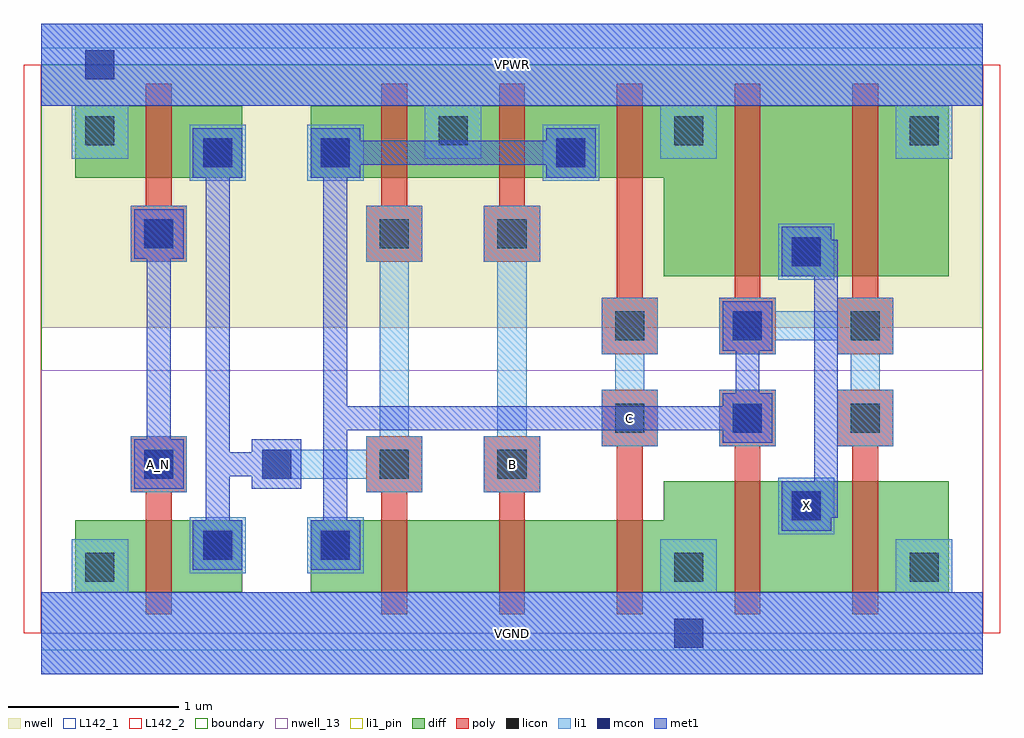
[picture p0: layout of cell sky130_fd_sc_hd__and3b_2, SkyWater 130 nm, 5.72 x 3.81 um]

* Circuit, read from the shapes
.subckt sky130_fd_sc_hd__and3b_2 A_N B C VGND VPWR X
XM1 n1 A_N VGND VSUBS sky130_fd_pr__nfet_01v8 w=0.42 l=0.15
XM2 n2 n1 n3 VSUBS sky130_fd_pr__nfet_01v8 w=0.42 l=0.15
XM3 n4 B n2 VSUBS sky130_fd_pr__nfet_01v8 w=0.42 l=0.15
XM4 VGND C n4 VSUBS sky130_fd_pr__nfet_01v8 w=0.42 l=0.15
XM5 X n3 VGND VSUBS sky130_fd_pr__nfet_01v8 w=0.65 l=0.15 m=2
XM6 n1 A_N VPWR n5 sky130_fd_pr__pfet_01v8 w=0.42 l=0.15
XM7 VPWR n1 n3 n5 sky130_fd_pr__pfet_01v8 w=0.42 l=0.15
XM8 n3 B VPWR n5 sky130_fd_pr__pfet_01v8 w=0.42 l=0.15
XM9 VPWR C n3 n5 sky130_fd_pr__pfet_01v8 w=0.42 l=0.15
XM10 X n3 VPWR n5 sky130_fd_pr__pfet_01v8 w=1 l=0.15 m=2
.ends

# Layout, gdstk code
import gdstk
lib = gdstk.Library(unit=1e-6, precision=1e-09)
def R(c, l, rs):  # rectangles x0, y0, x1, y1
    for r in rs: c.add(gdstk.rectangle(r[:2], r[2:], *l))
def A(c, l, x, y, w, h, nx, ny, dx, dy):  # array of equal rectangles
    R(c, l, [(x+i*dx, y+j*dy, x+i*dx+w, y+j*dy+h) for i in range(nx) for j in range(ny)])
def P(c, l, *ps):  # polygons
    for p in ps: c.add(gdstk.Polygon(p, *l))
nwell_13 = (64, 13)
nwell = (64, 20)
diff = (65, 20)
poly = (66, 20)
licon = (66, 44)
li1_pin = (67, 16)
li1 = (67, 20)
mcon = (67, 44)
met1 = (68, 20)
L142_1 = (142, 1)
L142_2 = (142, 2)
boundary = (235, 4)

sky130_fd_sc_hd__and3b_2 = lib.new_cell('sky130_fd_sc_hd__and3b_2')
R(sky130_fd_sc_hd__and3b_2, nwell_13, [(0,0,5.52,1.54)])
R(sky130_fd_sc_hd__and3b_2, nwell, [(0,1.79,5.52,3.33)])
R(sky130_fd_sc_hd__and3b_2, diff, [(0.2,0.24,1.18,0.66), (0.2,0.24,0.615,0.66), (0.615,0.24,1.18,0.66), (1.58,0.24,1.995,0.66), (1.995,0.24,2.685,0.66), (2.685,0.24,3.375,0.66), (4.065,0.24,4.755,0.89), (4.755,0.24,5.32,0.89), (4.065,2.09,4.755,3.09), (4.755,2.09,5.32,3.09), (0.2,2.67,1.18,3.09), (0.2,2.67,0.615,3.09), (0.615,2.67,1.18,3.09), (1.58,2.67,1.995,3.09), (1.995,2.67,2.685,3.09), (2.685,2.67,3.375,3.09)])
P(sky130_fd_sc_hd__and3b_2, diff, [(1.58,0.24),(1.58,0.66),(3.65,0.66),(3.65,0.89),(5.32,0.89),(5.32,0.24)],
  [(3.375,0.24),(3.375,0.66),(3.65,0.66),(3.65,0.89),(4.065,0.89),(4.065,0.24)],
  [(3.65,2.09),(3.65,2.67),(1.58,2.67),(1.58,3.09),(5.32,3.09),(5.32,2.09)],
  [(3.65,2.09),(3.65,2.67),(3.375,2.67),(3.375,3.09),(4.065,3.09),(4.065,2.09)])
P(sky130_fd_sc_hd__and3b_2, poly, [(2.685,0.11),(2.685,0.825),(2.595,0.825),(2.595,1.155),(2.925,1.155),(2.925,0.825),(2.835,0.825),(2.835,0.11)],
  [(2.595,2.175),(2.595,2.505),(2.685,2.505),(2.685,3.22),(2.835,3.22),(2.835,2.505),(2.925,2.505),(2.925,2.175)],
  [(4.065,0.11),(4.065,1.095),(3.975,1.095),(3.975,1.425),(4.305,1.425),(4.305,1.095),(4.215,1.095),(4.215,0.11)],
  [(4.755,0.11),(4.755,1.095),(4.665,1.095),(4.665,1.425),(4.995,1.425),(4.995,1.095),(4.905,1.095),(4.905,0.11)],
  [(3.975,1.635),(3.975,1.965),(4.065,1.965),(4.065,3.22),(4.215,3.22),(4.215,1.965),(4.305,1.965),(4.305,1.635)],
  [(4.665,1.635),(4.665,1.965),(4.755,1.965),(4.755,3.22),(4.905,3.22),(4.905,1.965),(4.995,1.965),(4.995,1.635)],
  [(0.615,0.11),(0.615,0.825),(0.525,0.825),(0.525,1.155),(0.855,1.155),(0.855,0.825),(0.765,0.825),(0.765,0.11)],
  [(0.525,2.175),(0.525,2.505),(0.615,2.505),(0.615,3.22),(0.765,3.22),(0.765,2.505),(0.855,2.505),(0.855,2.175)],
  [(3.375,0.11),(3.375,1.095),(3.285,1.095),(3.285,1.425),(3.615,1.425),(3.615,1.095),(3.525,1.095),(3.525,0.11)],
  [(3.285,1.635),(3.285,1.965),(3.375,1.965),(3.375,3.22),(3.525,3.22),(3.525,1.965),(3.615,1.965),(3.615,1.635)],
  [(1.995,0.11),(1.995,0.825),(1.905,0.825),(1.905,1.155),(2.235,1.155),(2.235,0.825),(2.145,0.825),(2.145,0.11)],
  [(1.905,2.175),(1.905,2.505),(1.995,2.505),(1.995,3.22),(2.145,3.22),(2.145,2.505),(2.235,2.505),(2.235,2.175)])
A(sky130_fd_sc_hd__and3b_2, licon, 3.365, 1.175, 0.17, 0.17, 3, 2, 0.69, 0.54)
A(sky130_fd_sc_hd__and3b_2, licon, 2.33, 2.86, 0.17, 0.17, 3, 1, 1.38, 0)
R(sky130_fd_sc_hd__and3b_2, licon, [(0.26,0.3,0.43,0.47), (3.71,0.3,3.88,0.47), (5.09,0.3,5.26,0.47), (0.95,0.43,1.12,0.6), (1.64,0.43,1.81,0.6), (4.4,0.66,4.57,0.83), (0.605,0.905,0.775,1.075), (1.985,0.905,2.155,1.075), (2.675,0.905,2.845,1.075), (4.4,2.15,4.57,2.32), (0.605,2.255,0.775,2.425), (1.985,2.255,2.155,2.425), (2.675,2.255,2.845,2.425), (0.95,2.73,1.12,2.9), (1.64,2.73,1.81,2.9), (3.02,2.73,3.19,2.9), (0.26,2.86,0.43,3.03)])
R(sky130_fd_sc_hd__and3b_2, li1_pin, [(0,-0.24,5.52,0.24), (4.32,0.58,4.65,0.91), (0.525,0.825,0.855,1.155), (0,3.09,5.52,3.57)])
P(sky130_fd_sc_hd__and3b_2, li1_pin, [(3.285,1.095),(3.285,1.425),(3.365,1.425),(3.365,1.635),(3.285,1.635),(3.285,1.965),(3.615,1.965),(3.615,1.635),(3.535,1.635),(3.535,1.425),(3.615,1.425),(3.615,1.095)],
  [(2.595,0.825),(2.595,1.155),(2.675,1.155),(2.675,2.175),(2.595,2.175),(2.595,2.505),(2.925,2.505),(2.925,2.175),(2.845,2.175),(2.845,1.155),(2.925,1.155),(2.925,0.825)])
R(sky130_fd_sc_hd__and3b_2, li1, [(0.87,0.35,1.2,0.68), (1.56,0.35,1.89,0.68), (4.32,0.58,4.65,0.91), (0.525,0.825,0.855,1.155), (3.975,1.095,4.305,1.425), (4.32,2.07,4.65,2.4), (0.525,2.175,0.855,2.505), (0.87,2.65,1.2,2.98), (1.56,2.65,1.89,2.98), (2.94,2.65,3.27,2.98)])
P(sky130_fd_sc_hd__and3b_2, li1, [(2.595,0.825),(2.595,1.155),(2.675,1.155),(2.675,2.175),(2.595,2.175),(2.595,2.505),(2.925,2.505),(2.925,2.175),(2.845,2.175),(2.845,1.155),(2.925,1.155),(2.925,0.825)],
  [(4.665,1.095),(4.665,1.425),(4.745,1.425),(4.745,1.635),(4.665,1.635),(4.665,1.715),(4.305,1.715),(4.305,1.635),(3.975,1.635),(3.975,1.965),(4.305,1.965),(4.305,1.885),(4.665,1.885),(4.665,1.965),(4.995,1.965),(4.995,1.635),(4.915,1.635),(4.915,1.425),(4.995,1.425),(4.995,1.095)],
  [(0.18,2.78),(0.18,3.09),(0,3.09),(0,3.57),(5.52,3.57),(5.52,3.09),(5.34,3.09),(5.34,2.78),(5.01,2.78),(5.01,3.09),(3.96,3.09),(3.96,2.78),(3.63,2.78),(3.63,3.09),(2.58,3.09),(2.58,2.78),(2.25,2.78),(2.25,3.09),(0.51,3.09),(0.51,2.78)],
  [(3.285,1.095),(3.285,1.425),(3.365,1.425),(3.365,1.635),(3.285,1.635),(3.285,1.965),(3.615,1.965),(3.615,1.635),(3.535,1.635),(3.535,1.425),(3.615,1.425),(3.615,1.095)],
  [(0,-0.24),(0,0.24),(0.18,0.24),(0.18,0.55),(0.51,0.55),(0.51,0.24),(3.63,0.24),(3.63,0.55),(3.96,0.55),(3.96,0.24),(5.01,0.24),(5.01,0.55),(5.34,0.55),(5.34,0.24),(5.52,0.24),(5.52,-0.24)],
  [(1.905,0.825),(1.905,0.905),(1.295,0.905),(1.295,1.075),(1.905,1.075),(1.905,1.155),(1.985,1.155),(1.985,2.175),(1.905,2.175),(1.905,2.505),(2.235,2.505),(2.235,2.175),(2.155,2.175),(2.155,1.155),(2.235,1.155),(2.235,0.825)])
R(sky130_fd_sc_hd__and3b_2, mcon, [(3.71,-0.085,3.88,0.085), (0.95,0.43,1.12,0.6), (1.64,0.43,1.81,0.6), (4.4,0.66,4.57,0.83), (0.605,0.905,0.775,1.075), (1.295,0.905,1.465,1.075), (4.055,1.175,4.225,1.345), (4.055,1.715,4.225,1.885), (4.4,2.15,4.57,2.32), (0.605,2.255,0.775,2.425), (0.95,2.73,1.12,2.9), (1.64,2.73,1.81,2.9), (3.02,2.73,3.19,2.9), (0.26,3.245,0.43,3.415)])
R(sky130_fd_sc_hd__and3b_2, met1, [(0,-0.24,5.52,0.24), (0,3.09,5.52,3.57)])
P(sky130_fd_sc_hd__and3b_2, met1, [(1.58,0.37),(1.58,0.66),(1.655,0.66),(1.655,2.67),(1.58,2.67),(1.58,2.96),(1.87,2.96),(1.87,2.885),(2.96,2.885),(2.96,2.96),(3.25,2.96),(3.25,2.67),(2.96,2.67),(2.96,2.745),(1.87,2.745),(1.87,2.67),(1.795,2.67),(1.795,1.33),(3.995,1.33),(3.995,1.405),(4.07,1.405),(4.07,1.655),(3.995,1.655),(3.995,1.945),(4.285,1.945),(4.285,1.655),(4.21,1.655),(4.21,1.405),(4.285,1.405),(4.285,1.115),(3.995,1.115),(3.995,1.19),(1.795,1.19),(1.795,0.66),(1.87,0.66),(1.87,0.37)],
  [(0.545,0.845),(0.545,1.135),(0.62,1.135),(0.62,2.195),(0.545,2.195),(0.545,2.485),(0.835,2.485),(0.835,2.195),(0.76,2.195),(0.76,1.135),(0.835,1.135),(0.835,0.845)],
  [(0.89,0.37),(0.89,0.66),(0.965,0.66),(0.965,2.67),(0.89,2.67),(0.89,2.96),(1.18,2.96),(1.18,2.67),(1.105,2.67),(1.105,1.06),(1.235,1.06),(1.235,1.135),(1.525,1.135),(1.525,0.845),(1.235,0.845),(1.235,0.92),(1.105,0.92),(1.105,0.66),(1.18,0.66),(1.18,0.37)],
  [(4.34,0.6),(4.34,0.89),(4.53,0.89),(4.53,2.09),(4.34,2.09),(4.34,2.38),(4.63,2.38),(4.63,2.305),(4.67,2.305),(4.67,0.675),(4.63,0.675),(4.63,0.6)])
R(sky130_fd_sc_hd__and3b_2, L142_1, [(0,-0.1,5.52,0), (0,3.33,5.52,3.43)])
R(sky130_fd_sc_hd__and3b_2, L142_2, [(-0.1,0,0,3.33), (5.52,0,5.62,3.33)])
R(sky130_fd_sc_hd__and3b_2, boundary, [(0,0,5.52,3.33)])
sky130_fd_sc_hd__and3b_2.add(gdstk.Label('X', (4.485,0.745), layer=67, texttype=5))
sky130_fd_sc_hd__and3b_2.add(gdstk.Label('A_N', (0.69,0.99), layer=67, texttype=5))
sky130_fd_sc_hd__and3b_2.add(gdstk.Label('C', (3.45,1.26), layer=67, texttype=5))
sky130_fd_sc_hd__and3b_2.add(gdstk.Label('B', (2.76,0.99), layer=67, texttype=5))
sky130_fd_sc_hd__and3b_2.add(gdstk.Label('VGND', (2.76,0), layer=67, texttype=5))
sky130_fd_sc_hd__and3b_2.add(gdstk.Label('VPWR', (2.76,3.33), layer=67, texttype=5))
sky130_fd_sc_hd__and3b_2.add(gdstk.Label('VGND', (2.76,0), layer=68, texttype=5))
sky130_fd_sc_hd__and3b_2.add(gdstk.Label('VPWR', (2.76,3.33), layer=68, texttype=5))

lib.write_gds('sky130_fd_sc_hd__and3b_2.gds')
